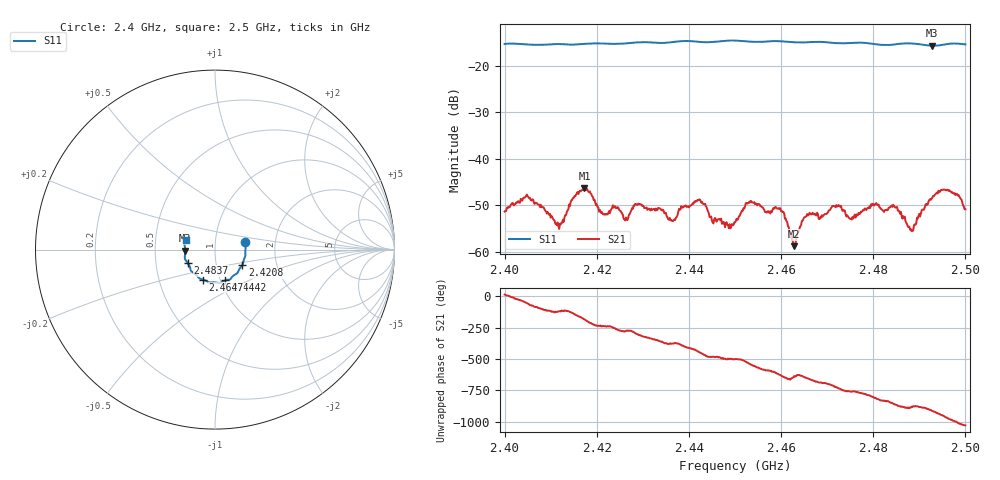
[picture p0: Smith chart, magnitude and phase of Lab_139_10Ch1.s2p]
# Hz S RI R 50
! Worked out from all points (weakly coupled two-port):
!   601 points, 2.4 GHz to 2.5 GHz, reference 50 ohm
!   highest |S21| = -46.34 dB at 2.4173 GHz (marker M1); lowest = -58.8 dB at 2.4628 GHz (marker M2)
!   lowest |S11| = -15.6 dB at 2.4928 GHz (marker M3), VSWR 1.40, Z = 35.8 - j0.387 ohm
!   |S11| at or under -10 dB: start of sweep to end of sweep
!   S12 and S22 are empty: the file has one direction only
!   S11 on the Smith chart (normalised r, x): 2.4 GHz: 1.40, +0.12; 2.4208 GHz: 1.33, -0.24; 2.4442 GHz: 1.05, -0.37; 2.4647 GHz: 0.83, -0.29; 2.4837 GHz: 0.73, -0.11; 2.5 GHz: 0.72, +0.08
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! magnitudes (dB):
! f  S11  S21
! 2.4 GHz  -15.2  -51.4
! 2.405 GHz  -15.4  -48.0
! 2.4118 GHz  -15.3  -55.1
! 2.4167 GHz  -15.3  -46.8
! 2.4173 GHz  -15.2  -46.3
! 2.4208 GHz  -15.1  -51.3
! 2.4333 GHz  -15.0  -50.5
! 2.4365 GHz  -14.8  -53.4
! 2.442 GHz  -14.8  -48.9
! 2.4442 GHz  -14.9  -51.3
! 2.45 GHz  -14.5  -53.7
! 2.453 GHz  -14.7  -49.3
! 2.4593 GHz  -14.6  -50.7
! 2.4628 GHz  -14.9  -58.8
! 2.4647 GHz  -14.9  -53.3
! 2.4667 GHz  -14.8  -51.9
! 2.4833 GHz  -15.5  -50.6
! 2.4837 GHz  -15.4  -50.4
! 2.4882 GHz  -15.1  -55.1
! 2.4928 GHz  -15.6  -48.3
! 2.4963 GHz  -15.2  -46.9
! 2.5 GHz  -15.3  -50.9
